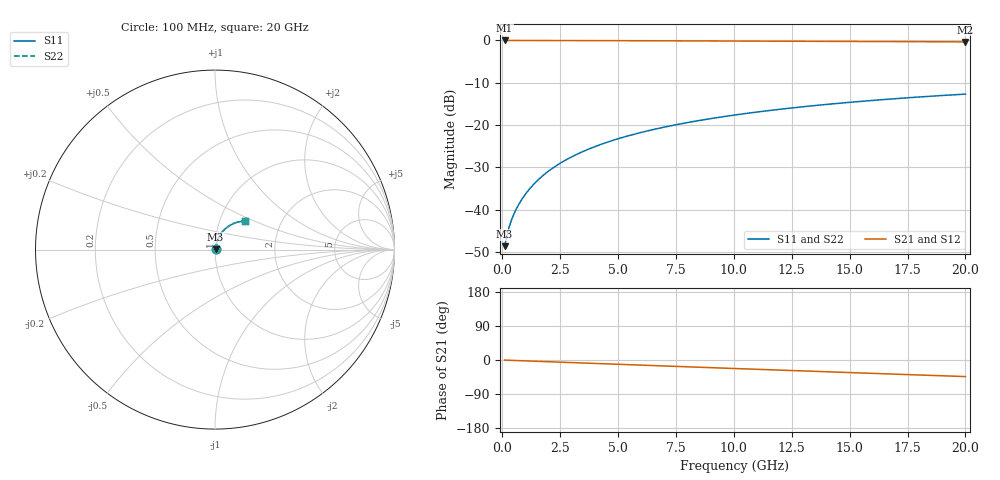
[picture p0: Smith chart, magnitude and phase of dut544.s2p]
! Touchstone file exported from HFSS 2026.1.0
!  File:  C:/ffzhzh/LocalFiles/Ansys_Project_Files/temp_train_BSMRDL_544_1783014996_51716.aedt
!  Generated:  01:58:17 AM Jul  3, 2026
!  Design:  BSMRDL
!  Project:  temp_train_BSMRDL_544_1783014996_51716
! Variables:
!  h_bsmrdl = 3.15um
!  h_ox = 20um
!  h_rdl = 5um
!  h_sub = 80um
!  h_tmrdl = 5um
!  h_tsv = 80um
!  h_via = 3um
!  l_bsmrdl = 724.42um
!  l_sub = 1124.42um
!  l_tmrdl = 200um
!  m_sub = 200um
!  pitch = 40.01um
!  r_tsv = 6um
!  s_tmrdl = 10um
!  w_bsmrdl = 27.76um
!  w_sub = 500um
!  w_tmrdl = 12um
!  x_tsv_center1 = 206um
!  x_tsv_center2 = 958.18um
!  x_tsv_center3 = 1170.18um
!  x_tsv_center4 = 1922.36um
!  x_tsv_center5 = 2134.36um
!  x_tsv_center6 = 2886.54um
# GHz S MA R 50.000000
! Terminal data exported
! Port[1] = BSM_RDL1_1_T1
! Port[2] = BSM_RDL1_1_T2
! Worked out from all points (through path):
!   200 points, 100 MHz to 20 GHz, reference 50 ohm
!   highest |S21| = -0.03 dB at 100 MHz (marker M1); lowest = -0.4 dB at 20 GHz (marker M2)
!   group delay of S21, straight-line fit = 6.07 ps
!   lowest |S11| = -48.6 dB at 100 MHz (marker M3), VSWR 1.01, Z = 50.3 + j0.183 ohm
!   |S11| at or under -10 dB: start of sweep to end of sweep
!   |S22| runs from -48.6 to -12.7 dB; largest |S21 - S12| = 3.6e-15
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0.1  0.003719 29.2  0.9968 -0.3  0.9968 -0.3  0.003719 29.2
! Gamma 0 0 0 0
! Port Impedance 50 0 50 0
0.2  0.004964 44.6  0.9965 -0.5  0.9965 -0.5  0.004964 44.6
0.3  0.006309 52.2  0.9962 -0.7  0.9962 -0.7  0.006309 52.2
0.4  0.007618 56.9  0.9959 -1.0  0.9959 -1.0  0.007618 56.9
0.5  0.008894 60.3  0.9957 -1.2  0.9957 -1.2  0.008894 60.3
0.6  0.01016 63.0  0.9956 -1.4  0.9956 -1.4  0.01016 63.0
0.8  0.0127 67.0  0.9954 -1.9  0.9954 -1.9  0.0127 67.0
1  0.01528 69.7  0.9952 -2.3  0.9952 -2.3  0.01528 69.7
1.2  0.01791 71.7  0.9951 -2.8  0.9951 -2.8  0.01791 71.7
1.7  0.02459 74.4  0.9947 -3.9  0.9947 -3.9  0.02459 74.4
2.2  0.03135 75.4  0.9944 -5.0  0.9944 -5.0  0.03135 75.4
2.8  0.03948 75.7  0.9938 -6.4  0.9938 -6.4  0.03948 75.7
3.5  0.04894 75.2  0.993 -8.0  0.993 -8.0  0.04894 75.2
4.2  0.05831 74.4  0.9921 -9.6  0.9921 -9.6  0.05831 74.4
5  0.06889 73.1  0.991 -11.3  0.991 -11.3  0.0689 73.1
5.9  0.0806 71.5  0.9895 -13.4  0.9895 -13.4  0.08061 71.5
6.8  0.09208 69.8  0.9879 -15.4  0.9879 -15.4  0.09209 69.8
8.3  0.1107 66.8  0.9851 -18.7  0.9851 -18.7  0.1107 66.8
10.1  0.1321 63.1  0.9814 -22.6  0.9814 -22.6  0.1322 63.1
13.4  0.1689 56.4  0.9741 -29.8  0.9741 -29.8  0.1689 56.4
16.7  0.2023 49.7  0.9666 -36.8  0.9666 -36.8  0.2023 49.7
20  0.2319 43.1  0.9591 -43.8  0.9591 -43.8  0.232 43.1
